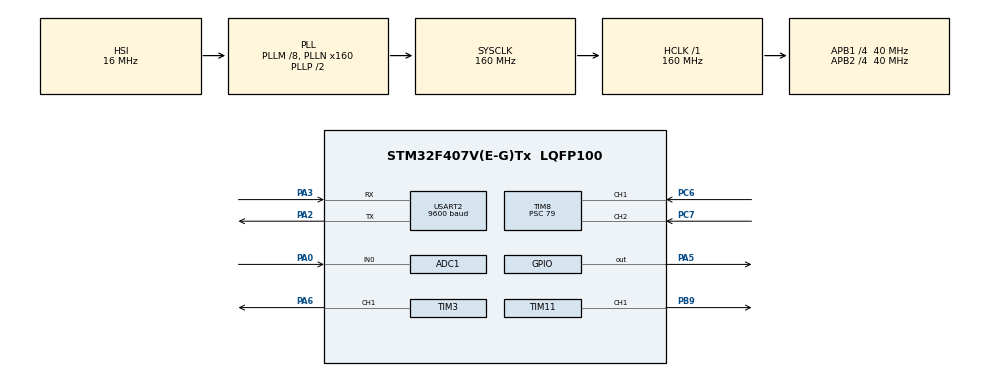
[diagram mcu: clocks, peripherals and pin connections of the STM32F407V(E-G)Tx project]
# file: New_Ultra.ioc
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ADC1.Channel-0\#ChannelRegularConversion=ADC_CHANNEL_0
ADC1.NbrOfConversionFlag=1
ADC1.Rank-0\#ChannelRegularConversion=1
ADC1.SamplingTime-0\#ChannelRegularConversion=ADC_SAMPLETIME_15CYCLES
ADC1.master=1
Mcu.Family=STM32F4
Mcu.Name=STM32F407V(E-G)Tx
Mcu.Package=LQFP100
NVIC.PriorityGroup=NVIC_PRIORITYGROUP_0
PA0-WKUP.Signal=ADCx_IN0
PA2.Mode=Asynchronous
PA2.Signal=USART2_TX
PA3.Mode=Asynchronous
PA3.Signal=USART2_RX
PA5.Signal=GPIO_Output
PA6.Signal=S_TIM3_CH1
PB9.Signal=S_TIM11_CH1
PC6.Signal=S_TIM8_CH1
PC7.Signal=S_TIM8_CH2
ProjectManager.HeapSize=0x200
ProjectManager.StackSize=0x400
ProjectManager.TargetToolchain=STM32CubeIDE
RCC.48MHZClocksFreq_Value=45714285.71428572
RCC.AHBFreq_Value=160000000
RCC.APB1CLKDivider=RCC_HCLK_DIV4
RCC.APB1Freq_Value=40000000
RCC.APB1TimFreq_Value=80000000
RCC.APB2CLKDivider=RCC_HCLK_DIV4
RCC.APB2Freq_Value=40000000
RCC.APB2TimFreq_Value=80000000
RCC.CortexFreq_Value=160000000
RCC.HCLKFreq_Value=160000000
RCC.HSE_VALUE=8000000
RCC.HSI_VALUE=16000000
RCC.LSE_VALUE=32768
RCC.PLLM=8
RCC.PLLN=160
RCC.PLLQ=7
RCC.SYSCLKFreq_VALUE=160000000
RCC.SYSCLKSource=RCC_SYSCLKSOURCE_PLLCLK
RCC.VCOOutputFreq_Value=320000000
SH.ADCx_IN0.0=ADC1_IN0,IN0
SH.S_TIM11_CH1.0=TIM11_CH1,PWM Generation1 CH1
SH.S_TIM3_CH1.0=TIM3_CH1,PWM Generation1 CH1
SH.S_TIM8_CH1.0=TIM8_CH1,Input_Capture1_from_TI1
SH.S_TIM8_CH2.0=TIM8_CH2,Input_Capture2_from_TI2
SH.S_TIM8_CH2.1=TIM8_CH2,TriggerSource_TI2FP2
TIM11.Channel=TIM_CHANNEL_1
TIM11.Period=39999
TIM11.Prescaler=199
TIM3.AutoReloadPreload=TIM_AUTORELOAD_PRELOAD_ENABLE
TIM3.Channel-PWM\ Generation1\ CH1=TIM_CHANNEL_1
TIM3.ClockDivision=TIM_CLOCKDIVISION_DIV2
TIM3.Period=99
TIM3.Prescaler=799
TIM8.Channel-Input_Capture1_from_TI1=TIM_CHANNEL_1
TIM8.Channel-Input_Capture2_from_TI2=TIM_CHANNEL_2
TIM8.ICPolarity_CH1=TIM_INPUTCHANNELPOLARITY_BOTHEDGE
TIM8.ICPolarity_CH2=TIM_INPUTCHANNELPOLARITY_BOTHEDGE
TIM8.Prescaler=79
USART2.BaudRate=9600
USART2.VirtualMode=VM_ASYNC
VP_TIM11_VS_ClockSourceINT.Mode=Enable_Timer
VP_TIM3_VS_ClockSourceINT.Mode=Internal
VP_TIM8_VS_ControllerModeReset.Mode=Reset Mode
board=STM32F407G-DISC1

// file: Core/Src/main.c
/* USER CODE BEGIN Header */
/**
  ******************************************************************************
  * @file           : main.c
  * @brief          : Main program body
  ******************************************************************************
  * @attention
  *
  * Copyright (c) 2024 STMicroelectronics.
  * All rights reserved.
  *
  * This software is licensed under terms that can be found in the LICENSE file
  * in the root directory of this software component.
  * If no LICENSE file comes with this software, it is provided AS-IS.
  *
  ******************************************************************************
  */
/* USER CODE END Header */
#include "main.h"

/* USER CODE BEGIN Includes */
#include <stdio.h>
#include <string.h>

/* USER CODE END Includes */

ADC_HandleTypeDef hadc1;

TIM_HandleTypeDef htim3;
TIM_HandleTypeDef htim8;
TIM_HandleTypeDef htim11;

UART_HandleTypeDef huart2;

/* USER CODE BEGIN PV */
uint32_t echo1, echo2;
uint32_t dist1, dist2, main_dist;
char str1[32];
char str2[32];
char str3[32];
char str4[32];
char str5[32];
/* USER CODE END PV */

void SystemClock_Config(void);
static void MX_GPIO_Init(void);
static void MX_TIM8_Init(void);
static void MX_TIM11_Init(void);
static void MX_USART2_UART_Init(void);
static void MX_TIM3_Init(void);
static void MX_ADC1_Init(void);

/* USER CODE BEGIN 0 */
uint16_t val = 0;
char msg[32];
/* USER CODE END 0 */

int main(void)
{

  /* USER CODE BEGIN 1 */
  char *message = "This is Ultrasonic Reading's and LDR Demo....!!!!\r\n";
  /* USER CODE END 1 */

  /* MCU Configuration--------------------------------------------------------*/

  /* Reset of all peripherals, Initializes the Flash interface and the Systick. */
  HAL_Init();

  /* Configure the system clock */
  SystemClock_Config();

  /* Initialize all configured peripherals */
  MX_GPIO_Init();
  MX_TIM8_Init();
  MX_TIM11_Init();
  MX_USART2_UART_Init();
  MX_TIM3_Init();
  MX_ADC1_Init();
  /* USER CODE BEGIN 2 */
  HAL_TIM_Base_Start(&htim11);
  HAL_TIM_Base_Start(&htim8);
  HAL_TIM_PWM_Start(&htim11, TIM_CHANNEL_1);
  HAL_TIM_PWM_Start(&htim3, TIM_CHANNEL_1);
  HAL_TIM_IC_Start(&htim8, TIM_CHANNEL_1);
  HAL_TIM_IC_Start(&htim8, TIM_CHANNEL_2);

  HAL_UART_Transmit(&huart2, (uint8_t *)message, strlen(message), HAL_MAX_DELAY);
  /* USER CODE END 2 */

  /* Infinite loop */
  /* USER CODE BEGIN WHILE */
  while (1)
  {
    // Send trigger pulse
    HAL_GPIO_WritePin(GPIOA, GPIO_PIN_0, GPIO_PIN_SET);
    HAL_Delay(10);
    HAL_GPIO_WritePin(GPIOA, GPIO_PIN_0, GPIO_PIN_RESET);

    // Capture echo pulse
    echo1 = HAL_TIM_ReadCapturedValue(&htim8, TIM_CHANNEL_1);
    echo2 = HAL_TIM_ReadCapturedValue(&htim8, TIM_CHANNEL_2);

    // Check if captured values are valid
    if (echo1 != 0 || echo2 != 0)
    {
      dist1 = echo1 / 58.0f;
      dist2 = echo2 / 58.0f;
      main_dist = (dist2) * 0.034 / 2;

      sprintf(str1, "ECHO 1=%lu\r\n", echo1);
      sprintf(str2, "ECHO 2=%lu\r\n", echo2);
      sprintf(str3, "DIST 1=%lu\r\n", dist1);
      sprintf(str4, "DIST 2=%lu\r\n", dist2);
      sprintf(str5, "Main=%lu\r\n", main_dist);

//      HAL_UART_Transmit(&huart2, (uint8_t *)str1, strlen(str1), HAL_MAX_DELAY);
//      HAL_UART_Transmit(&huart2, (uint8_t *)str2, strlen(str2), HAL_MAX_DELAY);
//    HAL_UART_Transmit(&huart2, (uint8_t *)str3, strlen(str3), HAL_MAX_DELAY);
//    HAL_UART_Transmit(&huart2, (uint8_t *)str4, strlen(str4), HAL_MAX_DELAY);
      HAL_UART_Transmit(&huart2, (uint8_t *)str5, strlen(str5), HAL_MAX_DELAY);
    }
    else
    {
      char *error_msg = "Error capturing echo\r\n";
      HAL_UART_Transmit(&huart2, (uint8_t *)error_msg, strlen(error_msg), HAL_MAX_DELAY);
    }

    HAL_Delay(100);  // Small delay to avoid overwhelming the UART with data
    /* USER CODE END WHILE */

    /* USER CODE BEGIN 3 */
    HAL_ADC_Start(&hadc1);
 	   HAL_ADC_PollForConversion(&hadc1, 20);
 	   val = HAL_ADC_GetValue(&hadc1);
 	   sprintf(msg, "Light: %hu \r\n", val);
 	   HAL_UART_Transmit(&huart2, (uint8_t*)msg, strlen(msg), HAL_MAX_DELAY);
        //HAL_Delay(1000);

 	   if(main_dist >= 50 && val <= 200)
 	   {
 		  HAL_GPIO_WritePin(GPIOA, GPIO_PIN_5, GPIO_PIN_SET);
 		  HAL_Delay(5000);
 		  HAL_GPIO_WritePin(GPIOA, GPIO_PIN_5, GPIO_PIN_SET);
 	   }

 	   else if(main_dist >=50  && val > 3950)
 	   {
 		   HAL_GPIO_WritePin(GPIOA, GPIO_PIN_5, GPIO_PIN_SET);
 		   HAL_Delay(3000);
 		   HAL_GPIO_WritePin(GPIOA, GPIO_PIN_5, GPIO_PIN_SET);
 	   }

 	   else if(main_dist < 25 || main_dist > 0)
 	   {
 		   HAL_GPIO_WritePin(GPIOA, GPIO_PIN_5, GPIO_PIN_SET);
 	   }
 	   HAL_Delay(1000);
  }
  /* USER CODE END 3 */
}

/**https://github.com/ruchavjoshi16/Project.git
  * @brief System Clock Configuration
  * @retval None
  */
void SystemClock_Config(void)
{
  RCC_OscInitTypeDef RCC_OscInitStruct = {0};
  RCC_ClkInitTypeDef RCC_ClkInitStruct = {0};

  /** Configure the main internal regulator output voltage
  */
  __HAL_RCC_PWR_CLK_ENABLE();
  __HAL_PWR_VOLTAGESCALING_CONFIG(PWR_REGULATOR_VOLTAGE_SCALE1);

  /** Initializes the RCC Oscillators according to the specified parameters
  * in the RCC_OscInitTypeDef structure.
  */
  RCC_OscInitStruct.OscillatorType = RCC_OSCILLATORTYPE_HSI;
  RCC_OscInitStruct.HSIState = RCC_HSI_ON;
  RCC_OscInitStruct.HSICalibrationValue = RCC_HSICALIBRATION_DEFAULT;
  RCC_OscInitStruct.PLL.PLLState = RCC_PLL_ON;
  RCC_OscInitStruct.PLL.PLLSource = RCC_PLLSOURCE_HSI;
  RCC_OscInitStruct.PLL.PLLM = 8;
  RCC_OscInitStruct.PLL.PLLN = 160;
  RCC_OscInitStruct.PLL.PLLP = RCC_PLLP_DIV2;
  RCC_OscInitStruct.PLL.PLLQ = 7;
  if (HAL_RCC_OscConfig(&RCC_OscInitStruct) != HAL_OK)
  {
    Error_Handler();
  }

  /** Initializes the CPU, AHB and APB buses clocks
  */
  RCC_ClkInitStruct.ClockType = RCC_CLOCKTYPE_HCLK|RCC_CLOCKTYPE_SYSCLK
                              |RCC_CLOCKTYPE_PCLK1|RCC_CLOCKTYPE_PCLK2;
  RCC_ClkInitStruct.SYSCLKSource = RCC_SYSCLKSOURCE_PLLCLK;
  RCC_ClkInitStruct.AHBCLKDivider = RCC_SYSCLK_DIV1;
  RCC_ClkInitStruct.APB1CLKDivider = RCC_HCLK_DIV4;
  RCC_ClkInitStruct.APB2CLKDivider = RCC_HCLK_DIV4;

  if (HAL_RCC_ClockConfig(&RCC_ClkInitStruct, FLASH_LATENCY_5) != HAL_OK)
  {
    Error_Handler();
  }
}

static void MX_ADC1_Init(void)
{

  ADC_ChannelConfTypeDef sConfig = {0};

  /** Configure the global features of the ADC (Clock, Resolution, Data Alignment and number of conversion)
  */
  hadc1.Instance = ADC1;
  hadc1.Init.ClockPrescaler = ADC_CLOCK_SYNC_PCLK_DIV2;
  hadc1.Init.Resolution = ADC_RESOLUTION_12B;
  hadc1.Init.ScanConvMode = DISABLE;
  hadc1.Init.ContinuousConvMode = DISABLE;
  hadc1.Init.DiscontinuousConvMode = DISABLE;
  hadc1.Init.ExternalTrigConvEdge = ADC_EXTERNALTRIGCONVEDGE_NONE;
  hadc1.Init.ExternalTrigConv = ADC_SOFTWARE_START;
  hadc1.Init.DataAlign = ADC_DATAALIGN_RIGHT;
  hadc1.Init.NbrOfConversion = 1;
  hadc1.Init.DMAContinuousRequests = DISABLE;
  hadc1.Init.EOCSelection = ADC_EOC_SINGLE_CONV;
  if (HAL_ADC_Init(&hadc1) != HAL_OK)
  {
    Error_Handler();
  }

  /** Configure for the selected ADC regular channel its corresponding rank in the sequencer and its sample time.
  */
  sConfig.Channel = ADC_CHANNEL_0;
  sConfig.Rank = 1;
  sConfig.SamplingTime = ADC_SAMPLETIME_15CYCLES;
  if (HAL_ADC_ConfigChannel(&hadc1, &sConfig) != HAL_OK)
  {
    Error_Handler();
  }

}

static void MX_TIM3_Init(void)
{

  TIM_ClockConfigTypeDef sClockSourceConfig = {0};
  TIM_MasterConfigTypeDef sMasterConfig = {0};
  TIM_OC_InitTypeDef sConfigOC = {0};

  htim3.Instance = TIM3;
  htim3.Init.Prescaler = 799;
  htim3.Init.CounterMode = TIM_COUNTERMODE_UP;
  htim3.Init.Period = 99;
  htim3.Init.ClockDivision = TIM_CLOCKDIVISION_DIV2;
  htim3.Init.AutoReloadPreload = TIM_AUTORELOAD_PRELOAD_ENABLE;
  if (HAL_TIM_Base_Init(&htim3) != HAL_OK)
  {
    Error_Handler();
  }
  sClockSourceConfig.ClockSource = TIM_CLOCKSOURCE_INTERNAL;
  if (HAL_TIM_ConfigClockSource(&htim3, &sClockSourceConfig) != HAL_OK)
  {
    Error_Handler();
  }
  if (HAL_TIM_PWM_Init(&htim3) != HAL_OK)
  {
    Error_Handler();
  }
  sMasterConfig.MasterOutputTrigger = TIM_TRGO_RESET;
  sMasterConfig.MasterSlaveMode = TIM_MASTERSLAVEMODE_DISABLE;
  if (HAL_TIMEx_MasterConfigSynchronization(&htim3, &sMasterConfig) != HAL_OK)
  {
    Error_Handler();
  }
  sConfigOC.OCMode = TIM_OCMODE_PWM1;
  sConfigOC.Pulse = 0;
  sConfigOC.OCPolarity = TIM_OCPOLARITY_HIGH;
  sConfigOC.OCFastMode = TIM_OCFAST_DISABLE;
  if (HAL_TIM_PWM_ConfigChannel(&htim3, &sConfigOC, TIM_CHANNEL_1) != HAL_OK)
  {
    Error_Handler();
  }
  HAL_TIM_MspPostInit(&htim3);

}

static void MX_TIM8_Init(void)
{

  TIM_SlaveConfigTypeDef sSlaveConfig = {0};
  TIM_MasterConfigTypeDef sMasterConfig = {0};
  TIM_IC_InitTypeDef sConfigIC = {0};

  htim8.Instance = TIM8;
  htim8.Init.Prescaler = 79;
  htim8.Init.CounterMode = TIM_COUNTERMODE_UP;
  htim8.Init.Period = 65535;
  htim8.Init.ClockDivision = TIM_CLOCKDIVISION_DIV1;
  htim8.Init.RepetitionCounter = 0;
  htim8.Init.AutoReloadPreload = TIM_AUTORELOAD_PRELOAD_DISABLE;
  if (HAL_TIM_Base_Init(&htim8) != HAL_OK)
  {
    Error_Handler();
  }
  if (HAL_TIM_IC_Init(&htim8) != HAL_OK)
  {
    Error_Handler();
  }
  sSlaveConfig.SlaveMode = TIM_SLAVEMODE_RESET;
  sSlaveConfig.InputTrigger = TIM_TS_TI2FP2;
  sSlaveConfig.TriggerPolarity = TIM_INPUTCHANNELPOLARITY_BOTHEDGE;
  sSlaveConfig.TriggerFilter = 0;
  if (HAL_TIM_SlaveConfigSynchro(&htim8, &sSlaveConfig) != HAL_OK)
  {
    Error_Handler();
  }
  sMasterConfig.MasterOutputTrigger = TIM_TRGO_RESET;
  sMasterConfig.MasterSlaveMode = TIM_MASTERSLAVEMODE_DISABLE;
  if (HAL_TIMEx_MasterConfigSynchronization(&htim8, &sMasterConfig) != HAL_OK)
  {
    Error_Handler();
  }
  sConfigIC.ICPolarity = TIM_INPUTCHANNELPOLARITY_BOTHEDGE;
  sConfigIC.ICSelection = TIM_ICSELECTION_DIRECTTI;
  sConfigIC.ICPrescaler = TIM_ICPSC_DIV1;
  sConfigIC.ICFilter = 0;
  if (HAL_TIM_IC_ConfigChannel(&htim8, &sConfigIC, TIM_CHANNEL_1) != HAL_OK)
  {
    Error_Handler();
  }
  if (HAL_TIM_IC_ConfigChannel(&htim8, &sConfigIC, TIM_CHANNEL_2) != HAL_OK)
  {
    Error_Handler();
  }

}

static void MX_TIM11_Init(void)
{

  TIM_OC_InitTypeDef sConfigOC = {0};

  htim11.Instance = TIM11;
  htim11.Init.Prescaler = 199;
  htim11.Init.CounterMode = TIM_COUNTERMODE_UP;
  htim11.Init.Period = 39999;
  htim11.Init.ClockDivision = TIM_CLOCKDIVISION_DIV1;
  htim11.Init.AutoReloadPreload = TIM_AUTORELOAD_PRELOAD_DISABLE;
  if (HAL_TIM_Base_Init(&htim11) != HAL_OK)
  {
    Error_Handler();
  }
  if (HAL_TIM_PWM_Init(&htim11) != HAL_OK)
  {
    Error_Handler();
  }
  sConfigOC.OCMode = TIM_OCMODE_PWM1;
  sConfigOC.Pulse = 0;
  sConfigOC.OCPolarity = TIM_OCPOLARITY_HIGH;
  sConfigOC.OCFastMode = TIM_OCFAST_DISABLE;
  if (HAL_TIM_PWM_ConfigChannel(&htim11, &sConfigOC, TIM_CHANNEL_1) != HAL_OK)
  {
    Error_Handler();
  }
  HAL_TIM_MspPostInit(&htim11);

}

static void MX_USART2_UART_Init(void)
{

  huart2.Instance = USART2;
  huart2.Init.BaudRate = 9600;
  huart2.Init.WordLength = UART_WORDLENGTH_8B;
  huart2.Init.StopBits = UART_STOPBITS_1;
  huart2.Init.Parity = UART_PARITY_NONE;
  huart2.Init.Mode = UART_MODE_TX_RX;
  huart2.Init.HwFlowCtl = UART_HWCONTROL_NONE;
  huart2.Init.OverSampling = UART_OVERSAMPLING_16;
  if (HAL_UART_Init(&huart2) != HAL_OK)
  {
    Error_Handler();
  }

}

static void MX_GPIO_Init(void)
{
  GPIO_InitTypeDef GPIO_InitStruct = {0};

  /* GPIO Ports Clock Enable */
  __HAL_RCC_GPIOA_CLK_ENABLE();
  __HAL_RCC_GPIOC_CLK_ENABLE();
  __HAL_RCC_GPIOB_CLK_ENABLE();

  /*Configure GPIO pin Output Level */
  HAL_GPIO_WritePin(GPIOA, GPIO_PIN_5, GPIO_PIN_RESET);

  /*Configure GPIO pin : PA5 */
  GPIO_InitStruct.Pin = GPIO_PIN_5;
  GPIO_InitStruct.Mode = GPIO_MODE_OUTPUT_PP;
  GPIO_InitStruct.Pull = GPIO_NOPULL;
  GPIO_InitStruct.Speed = GPIO_SPEED_FREQ_LOW;
  HAL_GPIO_Init(GPIOA, &GPIO_InitStruct);

}

void Error_Handler(void)
{
  /* USER CODE BEGIN Error_Handler_Debug */
  /* User can add their own implementation to report the HAL error return state */
  while(1)
  {
  }
  /* USER CODE END Error_Handler_Debug */
}

#ifdef  USE_FULL_ASSERT
/**
  * @brief  Reports the name of the source file and the source line number
  *         where the assert_param error has occurred.
  * @param  file: pointer to the source file name
  * @param  line: assert_param error line source number
  * @retval None
  */
void assert_failed(uint8_t *file, uint32_t line)
{
  /* USER CODE BEGIN 6 */
  /* User can add their own implementation to report the file name and line number,
     tex: printf("Wrong parameters value: file %s on line %d\r\n", file, line) */
  /* USER CODE END 6 */
}
#endif /* USE_FULL_ASSERT */
